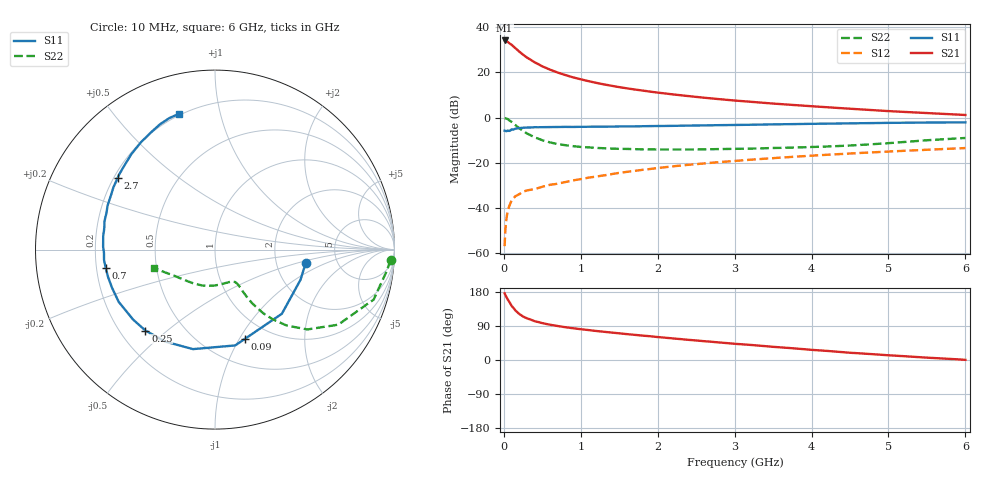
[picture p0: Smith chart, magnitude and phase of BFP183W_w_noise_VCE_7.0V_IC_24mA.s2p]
! Infineon Technologies  Discrete & RF Semiconductors
! BFP183W
! VCE =  7.0 V,  IC =  24 mA
! Common Emitter S-Parameters:  Jan 2017
# GHz  S  MA  R  50
!  f  S11  S21  S12  S22
! GHz  MAG  ANG  MAG  ANG  MAG  ANG  MAG  ANG
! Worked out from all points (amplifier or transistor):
!   77 points, 10 MHz to 6 GHz, reference 50 ohm
!   highest |S21| = 34.2 dB at 10 MHz (marker M1)
!   |S21| within 3 dB of that: start of sweep to 136.1 MHz
!   unconditionally stable (mu >= 1): 1.125 GHz to 3.475 GHz
!   at 130 MHz: K = 0.26, MSG = 33.5 dB, |S12| = -35.7 dB
!   at 2.2 GHz: K = 1.05, MAG = 14.5 dB, |S12| = -21.6 dB
!   at 6 GHz: K = 0.86, MSG = 7.3 dB, |S12| = -13.5 dB
!   lowest NFmin = 1.27 dB at 450 MHz
!   S11 on the Smith chart (normalised r, x): 10 MHz: 2.96, -0.58; 90 MHz: 0.77, -1.05; 250 MHz: 0.30, -0.42; 700 MHz: 0.24, -0.08; 2.7 GHz: 0.22, +0.31; 6 GHz: 0.19, +0.75
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0.01  0.5111 -8.2  51.39 176.0  0.0014 90.5  0.9797 -3.4
0.02  0.5053 -19.4  50.67 171.3  0.0033 87.2  0.9642 -7.1
0.05  0.5163 -43.8  47.86 159.7  0.0085 72.9  0.9268 -17.5
0.09  0.525 -71.7  42.33 146.7  0.0131 63.4  0.8247 -28.2
0.1  0.5456 -78.1  41.34 143.0  0.0143 62.0  0.8044 -31.3
0.15  0.5679 -102.5  34.72 130.7  0.018 54.1  0.681 -40.8
0.2  0.5827 -118.4  29.12 121.6  0.0199 51.3  0.5811 -46.7
0.25  0.5947 -130.7  24.85 114.8  0.0226 46.9  0.5033 -50.4
0.3  0.6002 -139.5  21.46 109.9  0.0242 46.1  0.4436 -52.9
0.4  0.6104 -151.5  16.83 102.4  0.0258 47.1  0.3639 -55.3
0.5  0.6119 -159.6  13.7 97.3  0.0291 48.4  0.3142 -56.1
0.6  0.6151 -165.7  11.57 93.1  0.0322 50.0  0.2813 -56.4
0.7  0.6176 -170.6  9.968 89.7  0.034 52.5  0.258 -56.3
0.9  0.6188 -178.4  7.797 83.8  0.0403 55.1  0.232 -56.8
1.1  0.6249 175.6  6.427 79.0  0.0464 56.9  0.2179 -57.7
1.5  0.6348 166.0  4.735 70.4  0.0592 59.2  0.202 -61.8
2.1  0.6514 153.9  3.42 58.8  0.0793 59.3  0.1953 -72.8
2.7  0.6737 143.6  2.659 48.1  0.0992 57.7  0.1984 -87.7
3.1  0.6882 137.3  2.316 41.4  0.1123 55.9  0.2031 -98.0
4.1  0.7292 123.5  1.74 25.4  0.146 50.7  0.2248 -124.1
5.1  0.7647 112.8  1.363 11.3  0.1794 44.8  0.2783 -149.6
6  0.7826 104.9  1.141 0.4  0.2105 38.8  0.3526 -163.3
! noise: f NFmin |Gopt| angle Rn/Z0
0.45  1.27  0.23  176  0.1
0.9  1.29  0.27  178  0.09
1.9  1.78  0.43  -159  0.09
2.4  2.01  0.47  -154  0.13
